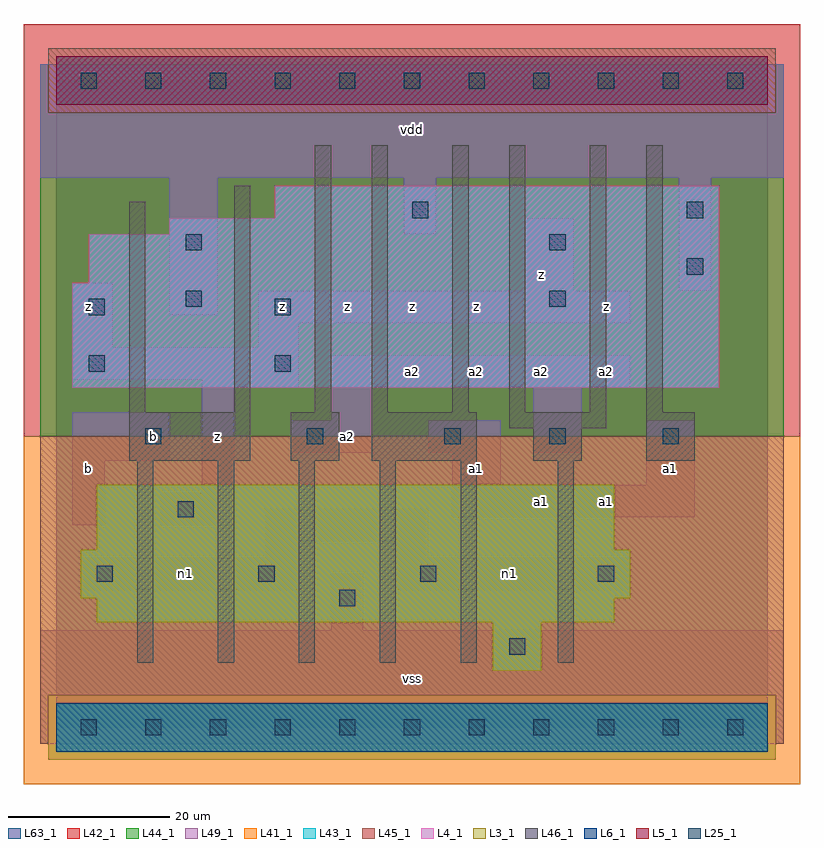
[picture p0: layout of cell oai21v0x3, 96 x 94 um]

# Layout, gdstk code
import gdstk
lib = gdstk.Library(unit=1e-6, precision=1e-09)
def R(c, l, rs):  # rectangles x0, y0, x1, y1
    for r in rs: c.add(gdstk.rectangle(r[:2], r[2:], *l))
def A(c, l, x, y, w, h, nx, ny, dx, dy):  # array of equal rectangles
    R(c, l, [(x+i*dx, y+j*dy, x+i*dx+w, y+j*dy+h) for i in range(nx) for j in range(ny)])
L3_1 = (3, 1)
L4_1 = (4, 1)
L5_1 = (5, 1)
L6_1 = (6, 1)
L25_1 = (25, 1)
L41_1 = (41, 1)
L42_1 = (42, 1)
L43_1 = (43, 1)
L44_1 = (44, 1)
L45_1 = (45, 1)
L46_1 = (46, 1)
L49_1 = (49, 1)
L63_1 = (63, 1)

oai21v0x3 = lib.new_cell('oai21v0x3')
R(oai21v0x3, L3_1, [(54,7,60,13), (5,13,69,16), (3,16,71,22), (5,22,69,30)])
R(oai21v0x3, L4_1, [(2,42,82,55), (4,55,82,61), (14,61,82,63), (27,63,82,67)])
R(oai21v0x3, L5_1, [(0,77,88,83)])
R(oai21v0x3, L6_1, [(0,-3,88,3), (0,-3,88,3)])
A(oai21v0x3, L25_1, 3, -1, 2, 2, 11, 2, 8, 80)
A(oai21v0x3, L25_1, 5, 18, 2, 2, 3, 1, 20, 0)
R(oai21v0x3, L25_1, [(56,9,58,11), (35,15,37,17), (67,18,69,20), (15,26,17,28), (11,35,13,37), (31,35,33,37), (48,35,50,37), (61,35,63,37), (75,35,77,37), (4,44,6,46), (27,44,29,46), (4,51,6,53), (27,51,29,53), (16,52,18,54), (61,52,63,54), (78,56,80,58), (16,59,18,61), (61,59,63,61), (44,63,46,65), (78,63,80,65)])
R(oai21v0x3, L41_1, [(-4,-7,92,36)])
R(oai21v0x3, L42_1, [(-4,36,92,87)])
R(oai21v0x3, L43_1, [(0,-3,88,3), (54,7,60,13), (5,13,69,16), (3,16,71,22), (5,22,69,30), (2,42,82,55), (4,55,82,61), (14,61,82,63), (27,63,82,67), (0,77,88,83)])
R(oai21v0x3, L44_1, [(-1,-4,89,4), (-2,36,90,76), (-2,76,-1,82), (89,76,90,82)])
R(oai21v0x3, L45_1, [(-2,-2,-1,4), (89,-2,90,4), (-2,4,90,36), (-1,76,89,84)])
A(oai21v0x3, L46_1, 10, 8, 2, 25, 5, 1, 10, 0)
R(oai21v0x3, L46_1, [(62,8,64,33), (9,33,24,39), (29,33,35,39), (39,33,52,39), (59,33,65,37), (73,33,79,39), (56,37,68,39), (9,39,11,65), (22,39,24,67), (32,39,34,72), (39,39,41,72), (49,39,51,72), (56,39,58,72), (66,39,68,72), (73,39,75,72)])
R(oai21v0x3, L49_1, [(-2,-2,90,12), (34,12,38,19), (3,17,30,21), (42,17,71,21), (26,21,30,23), (42,21,46,23), (26,23,46,27), (2,25,6,33), (13,25,22,29), (49,26,79,30), (18,29,22,42), (49,30,55,34), (73,30,79,38), (2,33,14,39), (29,34,39,38), (46,34,55,38), (59,34,65,42), (34,38,39,42), (18,42,30,43), (34,42,71,46), (2,43,30,47), (2,47,7,55), (25,47,30,50), (25,50,71,54), (14,51,20,68), (58,54,64,63), (77,54,81,68), (43,61,47,68), (-2,68,90,82)])
R(oai21v0x3, L63_1, [(0,0,88,80)])
oai21v0x3.add(gdstk.Label('b', (4,32), layer=49, texttype=1))
oai21v0x3.add(gdstk.Label('b', (12,36), layer=49, texttype=1))
oai21v0x3.add(gdstk.Label('z', (4,52), layer=49, texttype=1))
oai21v0x3.add(gdstk.Label('n1', (16,19), layer=49, texttype=1))
oai21v0x3.add(gdstk.Label('z', (20,36), layer=49, texttype=1))
oai21v0x3.add(gdstk.Label('z', (28,52), layer=49, texttype=1))
oai21v0x3.add(gdstk.Label('vss', (44,6), layer=49, texttype=1))
oai21v0x3.add(gdstk.Label('a2', (36,36), layer=49, texttype=1))
oai21v0x3.add(gdstk.Label('a2', (44,44), layer=49, texttype=1))
oai21v0x3.add(gdstk.Label('z', (44,52), layer=49, texttype=1))
oai21v0x3.add(gdstk.Label('z', (36,52), layer=49, texttype=1))
oai21v0x3.add(gdstk.Label('vdd', (44,74), layer=49, texttype=1))
oai21v0x3.add(gdstk.Label('a1', (60,28), layer=49, texttype=1))
oai21v0x3.add(gdstk.Label('a1', (68,28), layer=49, texttype=1))
oai21v0x3.add(gdstk.Label('a1', (52,32), layer=49, texttype=1))
oai21v0x3.add(gdstk.Label('a2', (52,44), layer=49, texttype=1))
oai21v0x3.add(gdstk.Label('a2', (60,44), layer=49, texttype=1))
oai21v0x3.add(gdstk.Label('a2', (68,44), layer=49, texttype=1))
oai21v0x3.add(gdstk.Label('z', (68,52), layer=49, texttype=1))
oai21v0x3.add(gdstk.Label('z', (52,52), layer=49, texttype=1))
oai21v0x3.add(gdstk.Label('z', (60,56), layer=49, texttype=1))
oai21v0x3.add(gdstk.Label('n1', (56,19), layer=49, texttype=1))
oai21v0x3.add(gdstk.Label('a1', (76,32), layer=49, texttype=1))

lib.write_gds('oai21v0x3.gds')
